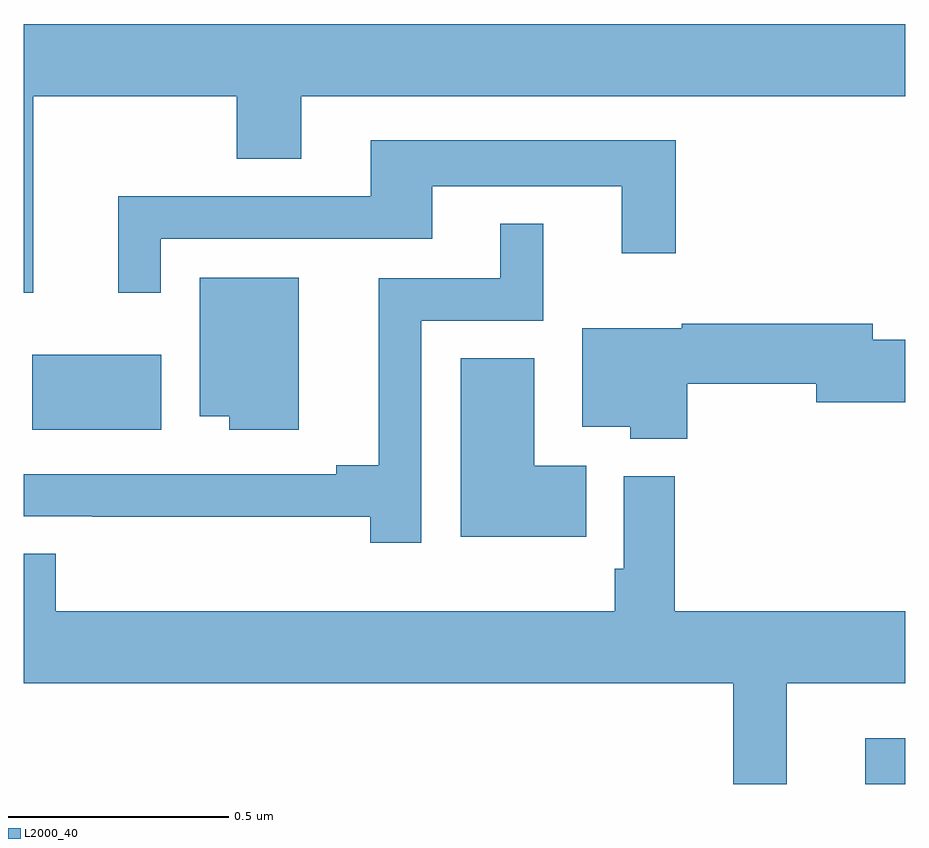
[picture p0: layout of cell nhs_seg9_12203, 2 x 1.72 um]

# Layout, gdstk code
import gdstk
lib = gdstk.Library(unit=1e-6, precision=1e-09)
def R(c, l, rs):  # rectangles x0, y0, x1, y1
    for r in rs: c.add(gdstk.rectangle(r[:2], r[2:], *l))
def P(c, l, *ps):  # polygons
    for p in ps: c.add(gdstk.Polygon(p, *l))
L2000_40 = (2000, 40)

nhs_seg9_12203 = lib.new_cell('nhs_seg9_12203')
R(nhs_seg9_12203, L2000_40, [(266.909,1221.5,267,1221.604), (265.019,1222.304,265.312,1222.474)])
P(nhs_seg9_12203, L2000_40, [(265.022,1223.06),(265.483,1223.06),(265.483,1222.918),(265.63,1222.918),(265.63,1223.06),(267,1223.06),(267,1223.224),(265,1223.224),(265,1222.614),(265.022,1222.614)],
  [(265.311,1222.737),(265.927,1222.737),(265.927,1222.856),(266.357,1222.856),(266.357,1222.704),(266.479,1222.704),(266.479,1222.96),(265.787,1222.96),(265.787,1222.833),(265.214,1222.833),(265.214,1222.614),(265.311,1222.614)],
  [(265.902,1222.551),(266.179,1222.551),(266.179,1222.771),(266.081,1222.771),(266.081,1222.647),(265.805,1222.647),(265.805,1222.223),(265.709,1222.223),(265.709,1222.203),(265,1222.203),(265,1222.107),(265.156,1222.107),(265.156,1222.106),(265.786,1222.106),(265.786,1222.047),(265.902,1222.047)],
  [(265.624,1222.648),(265.4,1222.648),(265.4,1222.334),(265.466,1222.334),(265.466,1222.304),(265.624,1222.304)],
  [(266.505,1222.408),(266.798,1222.408),(266.798,1222.366),(267,1222.366),(267,1222.508),(266.926,1222.508),(266.926,1222.544),(266.493,1222.544),(266.493,1222.534),(266.267,1222.534),(266.267,1222.31),(266.376,1222.31),(266.376,1222.283),(266.505,1222.283)],
  [(266.276,1222.222),(266.158,1222.222),(266.158,1222.466),(265.991,1222.466),(265.991,1222.061),(266.276,1222.061)],
  [(266.731,1221.728),(267,1221.728),(267,1221.892),(266.477,1221.892),(266.477,1222.198),(266.361,1222.198),(266.361,1221.988),(266.341,1221.988),(266.341,1221.892),(265.073,1221.892),(265.073,1222.022),(265,1222.022),(265,1221.728),(266.61,1221.728),(266.61,1221.5),(266.731,1221.5)])

lib.write_gds('nhs_seg9_12203.gds')
